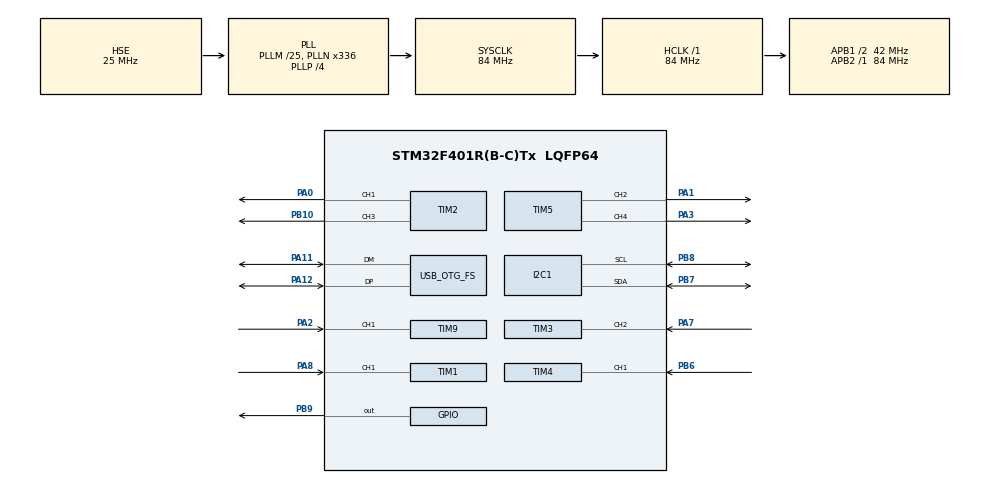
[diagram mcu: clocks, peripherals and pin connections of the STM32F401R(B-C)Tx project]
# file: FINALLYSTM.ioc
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Dma.Request0=TIM2_CH1
Dma.Request1=TIM2_CH3/UP
Dma.Request2=TIM5_CH2
Dma.Request3=TIM5_CH4/TRIG
Dma.TIM2_CH1.0.Direction=DMA_MEMORY_TO_PERIPH
Dma.TIM2_CH1.0.FIFOMode=DMA_FIFOMODE_ENABLE
Dma.TIM2_CH1.0.FIFOThreshold=DMA_FIFO_THRESHOLD_1QUARTERFULL
Dma.TIM2_CH1.0.Instance=DMA1_Stream5
Dma.TIM2_CH1.0.MemBurst=DMA_MBURST_SINGLE
Dma.TIM2_CH1.0.MemDataAlignment=DMA_MDATAALIGN_WORD
Dma.TIM2_CH1.0.MemInc=DMA_MINC_ENABLE
Dma.TIM2_CH1.0.Mode=DMA_NORMAL
Dma.TIM2_CH1.0.PeriphBurst=DMA_PBURST_SINGLE
Dma.TIM2_CH1.0.PeriphDataAlignment=DMA_PDATAALIGN_WORD
Dma.TIM2_CH1.0.PeriphInc=DMA_PINC_DISABLE
Dma.TIM2_CH1.0.Priority=DMA_PRIORITY_HIGH
Dma.TIM2_CH3/UP.1.Direction=DMA_MEMORY_TO_PERIPH
Dma.TIM2_CH3/UP.1.FIFOMode=DMA_FIFOMODE_ENABLE
Dma.TIM2_CH3/UP.1.FIFOThreshold=DMA_FIFO_THRESHOLD_1QUARTERFULL
Dma.TIM2_CH3/UP.1.Instance=DMA1_Stream1
Dma.TIM2_CH3/UP.1.MemBurst=DMA_MBURST_SINGLE
Dma.TIM2_CH3/UP.1.MemDataAlignment=DMA_MDATAALIGN_WORD
Dma.TIM2_CH3/UP.1.MemInc=DMA_MINC_ENABLE
Dma.TIM2_CH3/UP.1.Mode=DMA_NORMAL
Dma.TIM2_CH3/UP.1.PeriphBurst=DMA_PBURST_SINGLE
Dma.TIM2_CH3/UP.1.PeriphDataAlignment=DMA_PDATAALIGN_WORD
Dma.TIM2_CH3/UP.1.PeriphInc=DMA_PINC_DISABLE
Dma.TIM2_CH3/UP.1.Priority=DMA_PRIORITY_HIGH
Dma.TIM5_CH2.2.Direction=DMA_MEMORY_TO_PERIPH
Dma.TIM5_CH2.2.FIFOMode=DMA_FIFOMODE_ENABLE
Dma.TIM5_CH2.2.FIFOThreshold=DMA_FIFO_THRESHOLD_1QUARTERFULL
Dma.TIM5_CH2.2.Instance=DMA1_Stream4
Dma.TIM5_CH2.2.MemBurst=DMA_MBURST_SINGLE
Dma.TIM5_CH2.2.MemDataAlignment=DMA_MDATAALIGN_WORD
Dma.TIM5_CH2.2.MemInc=DMA_MINC_ENABLE
Dma.TIM5_CH2.2.Mode=DMA_NORMAL
Dma.TIM5_CH2.2.PeriphBurst=DMA_PBURST_SINGLE
Dma.TIM5_CH2.2.PeriphDataAlignment=DMA_PDATAALIGN_WORD
Dma.TIM5_CH2.2.PeriphInc=DMA_PINC_DISABLE
Dma.TIM5_CH2.2.Priority=DMA_PRIORITY_HIGH
Dma.TIM5_CH4/TRIG.3.Direction=DMA_MEMORY_TO_PERIPH
Dma.TIM5_CH4/TRIG.3.FIFOMode=DMA_FIFOMODE_ENABLE
Dma.TIM5_CH4/TRIG.3.FIFOThreshold=DMA_FIFO_THRESHOLD_1QUARTERFULL
Dma.TIM5_CH4/TRIG.3.Instance=DMA1_Stream3
Dma.TIM5_CH4/TRIG.3.MemBurst=DMA_MBURST_SINGLE
Dma.TIM5_CH4/TRIG.3.MemDataAlignment=DMA_MDATAALIGN_WORD
Dma.TIM5_CH4/TRIG.3.MemInc=DMA_MINC_ENABLE
Dma.TIM5_CH4/TRIG.3.Mode=DMA_NORMAL
Dma.TIM5_CH4/TRIG.3.PeriphBurst=DMA_PBURST_SINGLE
Dma.TIM5_CH4/TRIG.3.PeriphDataAlignment=DMA_PDATAALIGN_WORD
Dma.TIM5_CH4/TRIG.3.PeriphInc=DMA_PINC_DISABLE
Dma.TIM5_CH4/TRIG.3.Priority=DMA_PRIORITY_HIGH
I2C1.I2C_Mode=I2C_Fast
Mcu.Family=STM32F4
Mcu.Name=STM32F401R(B-C)Tx
Mcu.Package=LQFP64
NVIC.DMA1_Stream1_IRQn=true\:0\:0\:false\:false\:true\:false\:true\:true
NVIC.DMA1_Stream3_IRQn=true\:0\:0\:false\:false\:true\:false\:true\:true
NVIC.DMA1_Stream4_IRQn=true\:0\:0\:false\:false\:true\:false\:true\:true
NVIC.DMA1_Stream5_IRQn=true\:0\:0\:false\:false\:true\:false\:true\:true
NVIC.OTG_FS_IRQn=true\:0\:0\:false\:false\:true\:false\:true\:true
NVIC.PriorityGroup=NVIC_PRIORITYGROUP_4
PA0-WKUP.Signal=S_TIM2_CH1_ETR
PA1.Signal=S_TIM5_CH2
PA11.Mode=Device_Only
PA11.Signal=USB_OTG_FS_DM
PA12.Mode=Device_Only
PA12.Signal=USB_OTG_FS_DP
PA2.Signal=S_TIM9_CH1
PA3.Signal=S_TIM5_CH4
PA7.Signal=S_TIM3_CH2
PA8.Signal=S_TIM1_CH1
PB10.Signal=S_TIM2_CH3
PB6.Signal=S_TIM4_CH1
PB7.GPIO_Pu=GPIO_PULLUP
PB7.Mode=I2C
PB7.Signal=I2C1_SDA
PB8.GPIO_Pu=GPIO_PULLUP
PB8.Mode=I2C
PB8.Signal=I2C1_SCL
PB9.Signal=GPIO_Output
PH0\ -\ OSC_IN.Mode=HSE-External-Oscillator
PH0\ -\ OSC_IN.Signal=RCC_OSC_IN
PH1\ -\ OSC_OUT.Mode=HSE-External-Oscillator
PH1\ -\ OSC_OUT.Signal=RCC_OSC_OUT
ProjectManager.HeapSize=0x200
ProjectManager.StackSize=0x400
ProjectManager.TargetToolchain=STM32CubeIDE
RCC.48MHZClocksFreq_Value=48000000
RCC.AHBFreq_Value=84000000
RCC.APB1CLKDivider=RCC_HCLK_DIV2
RCC.APB1Freq_Value=42000000
RCC.APB1TimFreq_Value=84000000
RCC.APB2Freq_Value=84000000
RCC.APB2TimFreq_Value=84000000
RCC.CortexFreq_Value=84000000
RCC.HCLKFreq_Value=84000000
RCC.HSE_VALUE=25000000
RCC.HSI_VALUE=16000000
RCC.LSE_VALUE=32768
RCC.PLLM=25
RCC.PLLN=336
RCC.PLLP=RCC_PLLP_DIV4
RCC.PLLQ=7
RCC.SYSCLKFreq_VALUE=84000000
RCC.SYSCLKSource=RCC_SYSCLKSOURCE_PLLCLK
RCC.VCOOutputFreq_Value=336000000
SH.S_TIM1_CH1.0=TIM1_CH1,PWM_Input_1
SH.S_TIM2_CH1_ETR.0=TIM2_CH1,PWM Generation1 CH1
SH.S_TIM2_CH3.0=TIM2_CH3,PWM Generation3 CH3
SH.S_TIM3_CH2.0=TIM3_CH2,PWM_Input_2
SH.S_TIM4_CH1.0=TIM4_CH1,PWM_Input_1
SH.S_TIM5_CH2.0=TIM5_CH2,PWM Generation2 CH2
SH.S_TIM5_CH4.0=TIM5_CH4,PWM Generation4 CH4
SH.S_TIM9_CH1.0=TIM9_CH1,PWM_Input_1
TIM1.Prescaler=3
TIM2.Channel-PWM\ Generation1\ CH1=TIM_CHANNEL_1
TIM2.Channel-PWM\ Generation3\ CH3=TIM_CHANNEL_3
TIM3.ICPolarity_1=TIM_INPUTCHANNELPOLARITY_FALLING
TIM3.Prescaler=3
TIM4.Prescaler=3
TIM5.Channel-PWM\ Generation2\ CH2=TIM_CHANNEL_2
TIM5.Channel-PWM\ Generation4\ CH4=TIM_CHANNEL_4
TIM9.Prescaler=3
USB_DEVICE.CLASS_NAME_FS=CDC
USB_DEVICE.VirtualMode=Cdc
USB_DEVICE.VirtualModeFS=Cdc_FS
USB_OTG_FS.VirtualMode=Device_Only
VP_TIM1_VS_ClockSourceINT.Mode=Internal
VP_TIM3_VS_ClockSourceINT.Mode=Internal
VP_TIM4_VS_ClockSourceINT.Mode=Internal
VP_TIM9_VS_ClockSourceINT.Mode=Internal
VP_USB_DEVICE_VS_USB_DEVICE_CDC_FS.Mode=CDC_FS
board=custom

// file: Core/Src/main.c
/* USER CODE BEGIN Header */
/**
  ******************************************************************************
  * @file           : main.c
  * @brief          : Main program body
  ******************************************************************************
  * @attention
  *
  * Copyright (c) 2025 STMicroelectronics.
  * All rights reserved.
  *
  * This software is licensed under terms that can be found in the LICENSE file
  * in the root directory of this software component.
  * If no LICENSE file comes with this software, it is provided AS-IS.
  *
  ******************************************************************************
  */
/* USER CODE END Header */
#include "main.h"
#include "dma.h"
#include "i2c.h"
#include "tim.h"
#include "usb_device.h"
#include "gpio.h"

/* USER CODE BEGIN Includes */
#include "mpu6500.h"
#include "MahonyAHRS.h"
#include "dshot.h"

#define MAP_AND_CLAMP(input, imin, imax, omin, omax) \
    ( ((input) < (imin) ? (imin) : ( (input) > (imax) ? (imax) : (input) )) - (imin) ) * ((omax) - (omin)) / ((imax) - (imin)) + (omin)
#define CLAMP(input, imin, imax) ((input) < (imin) ? (imin) : ( (input) > (imax) ? (imax) : (input) ))

/* USER CODE END Includes */

/* USER CODE BEGIN PV */

const uint16_t max_motor_value = 2000; //+ x* max pid for actual
const uint16_t max_pid = 400;
// angles
const float pid_area_pitch = 60.0f;
const float pid_area_roll = 60.0f;
const float pid_area_yaw = 60.0f;

const float d_factor = -20.f/100.f; // how much does degree speed per second correspond to degree offset? 100d/s <=> 20d error

uint16_t motor_value[4] = {0,0,0,0};
const uint16_t motor_offset = 48;

const int input_min = 22000;
const int input_max = 41000;
const int output_min = 0;
const int output_max = 10000;
const int update_freq = 500;
const float delta_t = 1.0f/update_freq;
//in deg
const float max_delta_yaw = 360.0f*.5f * delta_t;
const float max_rx_angle = 25.0f;

float roll;
float pitch;
float yaw;

float prev_roll = 0.f;
float prev_pitch = 0.f;
float delta_roll, delta_pitch;
float averaged_delta_roll = 0.f;
float averaged_delta_pitch = 0.f;
const float decay_factor = 0.2f;
//roll	 pitch:  2.37	5.62
const float roll_angle_offset = 2.37f;
const float pitch_angle_offset = 5.62f;

int roll_cor;
int pitch_cor;
int yaw_cor;
unsigned long rx_inactive = 0;

float target_yaw = 0.0f;
int throttle;

/* USER CODE END PV */

void SystemClock_Config(void);

/* USER CODE BEGIN 0 */
/* spi code stack overflow

#define SPI_TIMEOUT 100

HAL_StatusTypeDef ReadRegister(uint8_t addr, uint8_t *byte)
{
    HAL_StatusTypeDef hal_status;
    uint8_t tx_data[2];
    uint8_t rx_data[2];

    tx_data[0] = addr | 0x80;  // read operation
    tx_data[1] = 0;            // dummy byte for response

    hal_status = HAL_SPI_TransmitReceive(&hspi1, tx_data, rx_data, 2, SPI_TIMEOUT);

    if (hal_status == HAL_OK)
    {
        *byte = rx_data[1];    // response is in the second byte
    }
    return hal_status;
}
*/

int32_t frequency, duty_cycle;
uint32_t capture_value;
void HAL_TIM_IC_CaptureCallback(TIM_HandleTypeDef *htim){
	rx_inactive = 0;
  /*if(htim ->Channel == HAL_TIM_ACTIVE_CHANNEL_1){
    capture_value = HAL_TIM_ReadCapturedValue(htim, TIM_CHANNEL_1);
    if(capture_value){
      frequency = SystemCoreClock / (capture_value);
      duty_cycle = 10000 * HAL_TIM_ReadCapturedValue(htim, TIM_CHANNEL_2) / capture_value - 750;
    }
  }*/
}

/* USER CODE END 0 */

int main(void)
{

  /* MCU Configuration--------------------------------------------------------*/

  /* Reset of all peripherals, Initializes the Flash interface and the Systick. */
  HAL_Init();

  /* USER CODE BEGIN Init */

  Mpu6500 mpu6500;

  /* USER CODE END Init */

  /* Configure the system clock */
  SystemClock_Config();

  /* Initialize all configured peripherals */
  MX_GPIO_Init();
  MX_DMA_Init();
  MX_USB_DEVICE_Init();
  MX_TIM2_Init();
  MX_TIM5_Init();
  MX_TIM1_Init();
  MX_TIM3_Init();
  MX_TIM4_Init();
  MX_TIM9_Init();
  MX_I2C1_Init();

  /* Infinite loop */
  /* USER CODE BEGIN WHILE */

  HAL_Delay(1500);

  twoKp = 2.0f * 0.5f;  // Adjust these values based on your application
  twoKi = 2.0f * 0.0f;
  q0 = 1.0f; q1 = q2 = q3 = 0.0f;  // Initial quaternion (no rotation)

  dshot_init(DSHOT600);

	int rx_throttle = 0;

	HAL_TIM_IC_Start(&htim1, TIM_CHANNEL_1);
	HAL_TIM_IC_Start(&htim1, TIM_CHANNEL_2);

	HAL_TIM_IC_Start_IT(&htim3, TIM_CHANNEL_1);
	HAL_TIM_IC_Start(&htim3, TIM_CHANNEL_2);

	HAL_TIM_IC_Start_IT(&htim4, TIM_CHANNEL_1);
	HAL_TIM_IC_Start(&htim4, TIM_CHANNEL_2);

	HAL_TIM_IC_Start(&htim9, TIM_CHANNEL_1);
	HAL_TIM_IC_Start(&htim9, TIM_CHANNEL_2);

	int wait;
	float throttle_f;
    char msg[1000];
    int len;
	Mpu6500_Init(&mpu6500, &hi2c1);

	if (Mpu6500_ConfigSrd(&mpu6500, 1)) {
		 // Initialization successful - proceed

		  len = sprintf(msg, "imu init worked\n");
		  CDC_Transmit_FS((uint8_t*)msg, len);
	}
	else {
		 // Initialization failed - handle error

			  len = sprintf(msg, "imu init Did not work\n");
			  CDC_Transmit_FS((uint8_t*)msg, len);
			  // Or your preferred error handling
	 }
	HAL_Delay(1000);

  while (1){
	  ++rx_inactive;
	  wait = 0;
	  len = sprintf(msg,"\n######\n");
	  bool succ = false;
	  while(!succ){
		  succ = Mpu6500_Read(&mpu6500);
		  if (succ) {
			  MahonyAHRSupdateIMU(
				mpu6500.gyro[2],
				mpu6500.gyro[0],
				mpu6500.gyro[1],
				mpu6500.accel[2],
				mpu6500.accel[0],
				mpu6500.accel[1]);

			prev_roll = roll;
			prev_pitch = pitch;

		    // Compute Euler angles (roll, pitch, yaw) in radians
		    roll = atan2f(2.0f * (q0 * q1 + q2 * q3), 1.0f - 2.0f * (q1*q1 + q2*q2));
		    pitch = asinf(2.0f * (q0 * q2 - q3 * q1));
		    yaw = atan2f(2.0f * (q0 * q3 + q1 * q2), 1.0f - 2.0f * (q2*q2 + q3*q3));
		    throttle_f = cos(roll)*cos(pitch);
		    // Convert to degrees
		    roll *= (180.0f / M_PI);
		    pitch *= (180.0f / M_PI);
		    yaw *= (180.0f / M_PI);

	     /* len = sprintf(msg2, "did work! %d\t%f\t%f\t%f\t%f\t%f\t%f\t%f\n",
	    		  mpu6500.new_imu_data,
				  mpu6500.accel[0],
				  mpu6500.accel[1],
				  mpu6500.accel[2],
				  mpu6500.gyro[0],
				  mpu6500.gyro[1],
				  mpu6500.gyro[2],
				  mpu6500.temp);*/

		  len = sprintf(msg+len,"waited: %3d inactive_since: %4d angles %3.2f\t%3.2f\t%3.2f\t\n quat: %3.2f\t%3.2f\t%3.2f\t%3.2f\n",wait,rx_inactive,roll,pitch, yaw,q0,q1,q2,q3);

		  }
		  else{
					 wait++;// CDC_Transmit_FS("n\n", 2);
		  }
	  }

	    roll += MAP_AND_CLAMP(HAL_TIM_ReadCapturedValue(&htim1, TIM_CHANNEL_2),input_min,input_max,-max_rx_angle,max_rx_angle) -roll_angle_offset;
	    pitch += MAP_AND_CLAMP(HAL_TIM_ReadCapturedValue(&htim3, TIM_CHANNEL_1),input_min,input_max,-max_rx_angle,max_rx_angle)-pitch_angle_offset;
	    yaw = MAP_AND_CLAMP(HAL_TIM_ReadCapturedValue(&htim9, TIM_CHANNEL_2),input_min,input_max,((float)-max_pid),((float)max_pid));
	    /*yaw += target_yaw;

	    if (yaw < 0){yaw += ((int)(-yaw) + 180)/360*360;}
	    else{yaw -= ((int)(yaw) + 180)/360*360;}*/

	    delta_roll = (prev_roll-roll)/delta_t;
	    delta_pitch = (prev_pitch-pitch)/delta_t;

	    averaged_delta_roll = decay_factor*delta_roll+averaged_delta_roll*(1.f-decay_factor);
	    averaged_delta_pitch = decay_factor*delta_pitch+averaged_delta_pitch*(1.f-decay_factor);

	    throttle = MAP_AND_CLAMP(HAL_TIM_ReadCapturedValue(&htim4, TIM_CHANNEL_2),input_min,input_max,0,max_motor_value);

	    roll_cor = (int)(MAP_AND_CLAMP(roll+d_factor*averaged_delta_roll,-pid_area_roll,pid_area_roll,-max_pid,max_pid));
	    pitch_cor = (int)(MAP_AND_CLAMP(pitch+d_factor*averaged_delta_pitch,-pid_area_pitch,pid_area_pitch,-max_pid,max_pid));
	    yaw_cor = (int)(yaw);//MAP_AND_CLAMP(pitch,-pid_area_yaw,pid_area_yaw,-max_pid,max_pid));

		len += sprintf(msg+len,"roll: %3.2f\t pitch:%3.2f\t yaw:%3.2f\ttarget_yaw:%3.2f throttle: %d \tdelta_roll:%3.2f \tdelta_pitch:%3.2f\n",roll,pitch, yaw,target_yaw,throttle,averaged_delta_roll,averaged_delta_pitch);
		throttle = (int)(((float)throttle)/ throttle_f);

	   /* int len = sprintf(msg, "Roll: %5d Pitch: %5d Yaw: %5d Throttle: %5d\n",
	                      rx_roll, rx_pitch, rx_yaw, rx_throttle);
	    CDC_Transmit_FS((uint8_t*)msg, len);*/

	    motor_value[0] =CLAMP( throttle + roll_cor + yaw_cor,0,max_motor_value);
	    motor_value[1] = CLAMP(throttle + pitch_cor - yaw_cor,0,max_motor_value);
	    motor_value[2] = CLAMP(throttle - roll_cor + yaw_cor,0,max_motor_value);
	    motor_value[3] = CLAMP(throttle - pitch_cor - yaw_cor,0,max_motor_value);

	  /*  if(motor_value[0]>max_motor_value){motor_value[0] = max_motor_value;}
		if(motor_value[1]>max_motor_value){motor_value[1] = max_motor_value;}
		if(motor_value[2]>max_motor_value){motor_value[2] = max_motor_value;}
		if(motor_value[3]>max_motor_value){motor_value[3] = max_motor_value;}

	   	if(motor_value[0]<0){motor_value[0] = 0;}
		if(motor_value[1]<0){motor_value[1] = 0;}
		if(motor_value[2]<0){motor_value[2] = 0;}
		if(motor_value[3]<0){motor_value[3] = 0;}*/

	    if(rx_inactive>200 || throttle == 0){
	    	motor_value[0] = motor_value[1] = motor_value[2] = motor_value[3] = 0;
	    }

		len += sprintf(msg+len,"roll_cor:%d, pitch_cor:%d ,yaw_cor:%d motors: %d\t%d\t%d\t%d\n",roll_cor,pitch_cor,yaw_cor,motor_value[0],motor_value[1],motor_value[2],motor_value[3]);

	    dshot_write(motor_value);

	    CDC_Transmit_FS((uint8_t*)msg, len);

    /* USER CODE END WHILE */

  }
}

void SystemClock_Config(void)
{
  RCC_OscInitTypeDef RCC_OscInitStruct = {0};
  RCC_ClkInitTypeDef RCC_ClkInitStruct = {0};

  /** Configure the main internal regulator output voltage
  */
  __HAL_RCC_PWR_CLK_ENABLE();
  __HAL_PWR_VOLTAGESCALING_CONFIG(PWR_REGULATOR_VOLTAGE_SCALE2);

  /** Initializes the RCC Oscillators according to the specified parameters
  * in the RCC_OscInitTypeDef structure.
  */
  RCC_OscInitStruct.OscillatorType = RCC_OSCILLATORTYPE_HSE;
  RCC_OscInitStruct.HSEState = RCC_HSE_ON;
  RCC_OscInitStruct.PLL.PLLState = RCC_PLL_ON;
  RCC_OscInitStruct.PLL.PLLSource = RCC_PLLSOURCE_HSE;
  RCC_OscInitStruct.PLL.PLLM = 25;
  RCC_OscInitStruct.PLL.PLLN = 336;
  RCC_OscInitStruct.PLL.PLLP = RCC_PLLP_DIV4;
  RCC_OscInitStruct.PLL.PLLQ = 7;
  if (HAL_RCC_OscConfig(&RCC_OscInitStruct) != HAL_OK)
  {
    Error_Handler();
  }

  /** Initializes the CPU, AHB and APB buses clocks
  */
  RCC_ClkInitStruct.ClockType = RCC_CLOCKTYPE_HCLK|RCC_CLOCKTYPE_SYSCLK
                              |RCC_CLOCKTYPE_PCLK1|RCC_CLOCKTYPE_PCLK2;
  RCC_ClkInitStruct.SYSCLKSource = RCC_SYSCLKSOURCE_PLLCLK;
  RCC_ClkInitStruct.AHBCLKDivider = RCC_SYSCLK_DIV1;
  RCC_ClkInitStruct.APB1CLKDivider = RCC_HCLK_DIV2;
  RCC_ClkInitStruct.APB2CLKDivider = RCC_HCLK_DIV1;

  if (HAL_RCC_ClockConfig(&RCC_ClkInitStruct, FLASH_LATENCY_2) != HAL_OK)
  {
    Error_Handler();
  }
}

void Error_Handler(void)
{
  __disable_irq();
  while (1)
  {
  }
}
